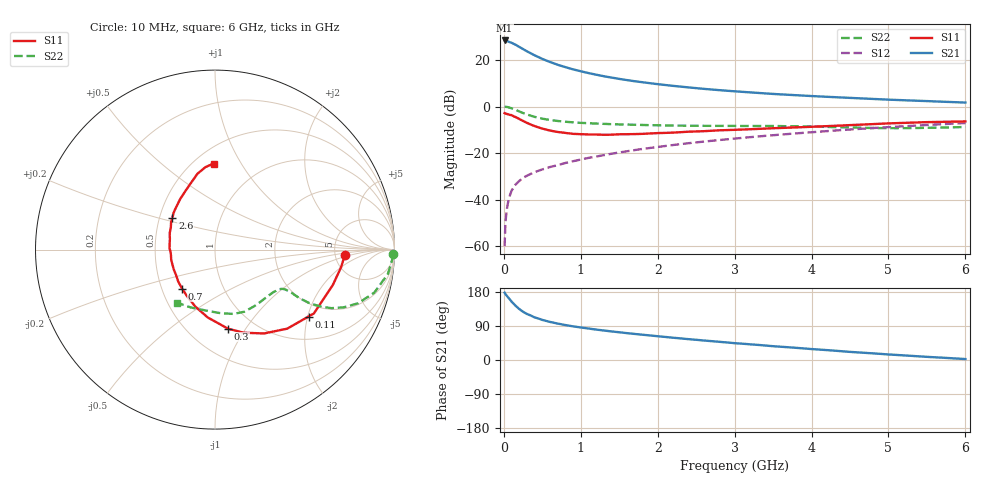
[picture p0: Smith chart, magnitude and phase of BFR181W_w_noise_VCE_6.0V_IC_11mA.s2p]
! Infineon Technologies  Discrete & RF Semiconductors
! BFR181W
! VCE =  6.0 V,  IC =  11 mA
! Common Emitter S-Parameters:  Jan 2017
# GHz  S  MA  R  50
!  f  S11  S21  S12  S22
! GHz  MAG  ANG  MAG  ANG  MAG  ANG  MAG  ANG
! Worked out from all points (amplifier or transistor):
!   77 points, 10 MHz to 6 GHz, reference 50 ohm
!   highest |S21| = 28.4 dB at 10 MHz (marker M1)
!   |S21| within 3 dB of that: start of sweep to 212.9 MHz
!   unconditionally stable (mu >= 1): 983 MHz to 2.913 GHz
!   at 130 MHz: K = 0.29, MSG = 30.7 dB, |S12| = -34.6 dB
!   at 2.2 GHz: K = 1.05, MAG = 11.4 dB, |S12| = -16.5 dB
!   at 6 GHz: K = 0.85, MSG = 4.4 dB, |S12| = -7.1 dB
!   lowest NFmin = 1.29 dB at 450 MHz
!   S11 on the Smith chart (normalised r, x): 10 MHz: 6.13, -0.78; 110 MHz: 1.60, -2.02; 300 MHz: 0.76, -0.84; 700 MHz: 0.63, -0.30; 2.6 GHz: 0.58, +0.23; 6 GHz: 0.62, +0.77
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0.01  0.7236 -2.4  26.3 177.5  0.001 75.3  0.9922 -1.5
0.02  0.7095 -7.9  25.94 174.1  0.003 92.6  0.9901 -2.9
0.05  0.6855 -16.7  25.23 166.5  0.008 81.7  0.973 -8.0
0.1  0.6557 -32.9  23.47 154.2  0.0155 77.3  0.9194 -15.1
0.11  0.6407 -35.6  23 152.2  0.0165 75.3  0.9054 -16.1
0.15  0.5967 -47.6  21.39 143.6  0.0209 69.3  0.8525 -20.5
0.2  0.5411 -59.7  19.16 134.6  0.0252 67.2  0.7853 -24.2
0.25  0.4898 -71.0  17.17 127.3  0.0294 64.2  0.7261 -26.7
0.3  0.4464 -80.7  15.36 121.5  0.0327 62.9  0.6745 -28.2
0.4  0.3807 -96.0  12.61 112.4  0.0388 62.5  0.6 -29.6
0.5  0.3361 -109.0  10.55 105.8  0.0446 62.5  0.5493 -29.9
0.6  0.3047 -120.2  9.061 100.5  0.0502 63.1  0.5146 -29.7
0.7  0.2845 -130.2  7.903 96.1  0.055 64.5  0.4896 -29.4
0.9  0.259 -147.0  6.295 88.8  0.0668 65.8  0.4579 -29.5
1.1  0.2513 -160.7  5.24 83.1  0.0788 67.2  0.4388 -30.0
1.5  0.2534 178.4  3.929 73.2  0.1032 68.0  0.4137 -32.9
2.1  0.2716 156.5  2.902 60.8  0.1422 67.1  0.3929 -40.9
2.6  0.2955 143.5  2.399 51.4  0.1765 65.4  0.3853 -49.4
3.1  0.3206 132.4  2.07 43.0  0.2123 62.7  0.3824 -58.1
4.1  0.3731 114.8  1.65 27.5  0.2885 56.2  0.3688 -75.9
5.1  0.4399 101.5  1.386 13.4  0.3689 47.9  0.3428 -101.2
6  0.4797 90.9  1.217 2.5  0.4428 39.4  0.3641 -125.9
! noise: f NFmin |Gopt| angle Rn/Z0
0.45  1.29  0.12  17  0.21
0.9  1.33  0.12  31  0.21
1.9  1.76  0.04  -171  0.2
2.4  1.95  0.05  -122  0.25
